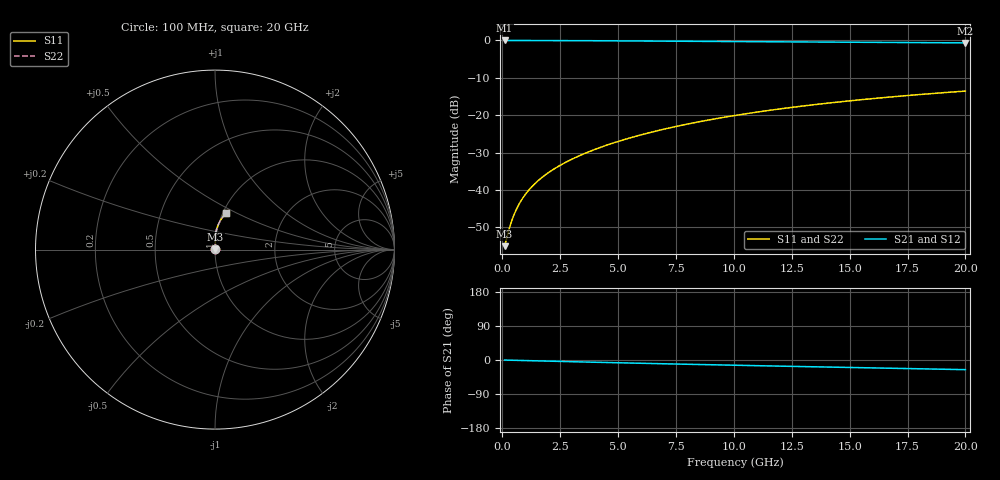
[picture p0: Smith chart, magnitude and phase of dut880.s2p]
! Touchstone file exported from HFSS 2024.1.0
!  File:  C:/UserFiles/LocalFiles/RDL_TSV_Batchsim/temp_RDL_bottom_880_1779865462.aedt
!  Generated:  03:06:42 PM May 27, 2026
!  Design:  RDL_bottom
!  Project:  temp_RDL_bottom_880_1779865462
!  Setup:  Setup1
!  Solution:  Sweep
! Variables:
!  dtsv = 10.80580581um
!  hbump = 3um
!  htsv = 77.26um
!  ldown = 387.72um
!  lrdl = 100um
!  p = 40
!  p1 = 43.4um
!  rhole = 1um
!  t = 450um
!  tdown = 4.4um
!  trdl = 3.915915916um
!  wdown = 24.57um
!  wrdl = 20um
# GHz S MA R 50.000000
! Terminal data exported
! Port[1] = RDL1_T1
! Port[2] = RDL1_T2
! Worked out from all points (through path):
!   200 points, 100 MHz to 20 GHz, reference 50 ohm
!   highest |S21| = -0.01 dB at 100 MHz (marker M1); lowest = -0.7 dB at 20 GHz (marker M2)
!   group delay of S21, straight-line fit = 3.49 ps
!   lowest |S11| = -55.0 dB at 100 MHz (marker M3), VSWR 1.00, Z = 50.1 + j0.0993 ohm
!   |S11| at or under -10 dB: start of sweep to end of sweep
!   |S22| runs from -55.0 to -13.6 dB; largest |S21 - S12| = 3.5e-15
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0.1  0.001774 33.9  0.9985 -0.2  0.9985 -0.2  0.001774 33.9
! Gamma 0 0 0 0
! Port Impedance 50 0 50 0
0.3  0.003031 61.7  0.9983 -0.5  0.9983 -0.5  0.003031 61.7
0.4  0.003812 67.7  0.9981 -0.6  0.9981 -0.6  0.003811 67.7
0.5  0.004622 71.6  0.998 -0.8  0.998 -0.8  0.00462 71.6
0.6  0.005445 74.3  0.9979 -0.9  0.9979 -0.9  0.005443 74.3
0.8  0.007107 77.8  0.9977 -1.2  0.9977 -1.2  0.007105 77.8
1.1  0.009605 80.8  0.9974 -1.7  0.9974 -1.7  0.009603 80.9
1.5  0.01293 83.3  0.9968 -2.3  0.9968 -2.3  0.01293 83.3
1.8  0.01544 84.6  0.9962 -2.7  0.9962 -2.7  0.01544 84.6
2.1  0.01797 85.6  0.9956 -3.2  0.9956 -3.2  0.01797 85.6
2.7  0.02313 87.2  0.9941 -4.1  0.9941 -4.1  0.02313 87.2
3.5  0.03027 88.6  0.9916 -5.2  0.9916 -5.2  0.03027 88.7
4.2  0.03679 89.4  0.9892 -6.2  0.9892 -6.2  0.03679 89.4
5  0.04455 89.9  0.9861 -7.3  0.9861 -7.3  0.04456 89.9
5.9  0.05367 90.0  0.9825 -8.6  0.9825 -8.6  0.05367 90.0
6.8  0.06313 89.8  0.9787 -9.8  0.9787 -9.8  0.06314 89.8
8.4  0.08061 88.7  0.9719 -11.8  0.9719 -11.8  0.08063 88.7
10.1  0.09978 87.0  0.9649 -13.9  0.9649 -13.9  0.09981 87.0
11.7  0.1181 85.0  0.9584 -15.9  0.9584 -15.9  0.1181 85.0
13.4  0.1375 82.8  0.9517 -17.9  0.9517 -17.9  0.1375 82.8
16.7  0.1745 78.2  0.9392 -21.7  0.9392 -21.7  0.1746 78.3
20  0.2101 73.7  0.9269 -25.5  0.9269 -25.5  0.2101 73.8
